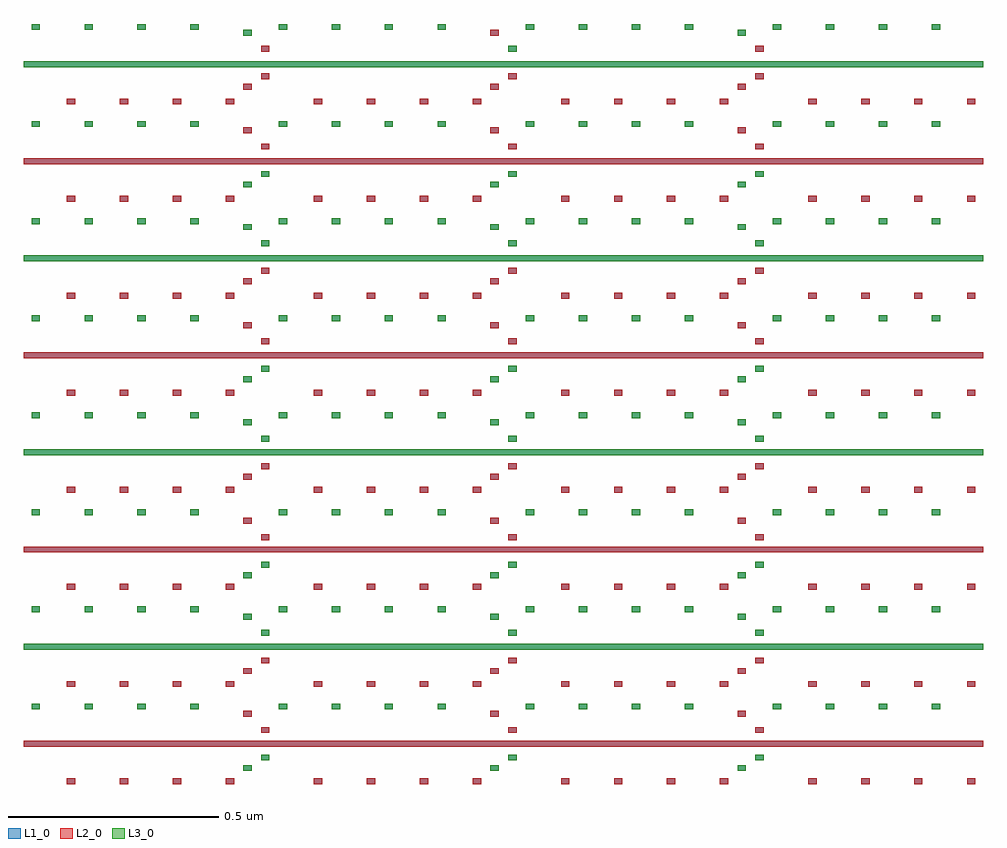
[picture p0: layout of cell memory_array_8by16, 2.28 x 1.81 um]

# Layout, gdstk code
import gdstk
lib = gdstk.Library(unit=1e-6, precision=5e-10)
def R(c, l, rs):  # rectangles x0, y0, x1, y1
    for r in rs: c.add(gdstk.rectangle(r[:2], r[2:], *l))
def A(c, l, x, y, w, h, nx, ny, dx, dy):  # array of equal rectangles
    R(c, l, [(x+i*dx, y+j*dy, x+i*dx+w, y+j*dy+h) for i in range(nx) for j in range(ny)])
L1_0 = (1, 0)
L2_0 = (2, 0)
L3_0 = (3, 0)

sram_6t = lib.new_cell('sram_6t')
R(sram_6t, L1_0, [(0.1025,0.0355,0.1225,0.0495), (0,0.1245,0.141,0.1385), (0.0185,0.213,0.0385,0.227)])
R(sram_6t, L2_0, [(0.1025,0.0355,0.1225,0.0495)])
R(sram_6t, L3_0, [(0.0185,0.213,0.0385,0.227)])

memory_array_8by16 = lib.new_cell('memory_array_8by16')
A(memory_array_8by16, L1_0, 0.5505, 0.071, 0.02, 0.014, 3, 2, 0.588, 0.129)
A(memory_array_8by16, L1_0, 0.5925, 0.096, 0.02, 0.014, 3, 2, 0.588, 0.0655)
A(memory_array_8by16, L1_0, 1.135, 0.129, 0.069, 0.014, 1, 8, 0, 0.231)
A(memory_array_8by16, L1_0, 1.723, 0.129, 0.069, 0.014, 1, 8, 0, 0.231)
A(memory_array_8by16, L1_0, 0.5505, 0.302, 0.02, 0.014, 3, 2, 0.588, 0.129)
A(memory_array_8by16, L1_0, 0.5925, 0.327, 0.02, 0.014, 3, 2, 0.588, 0.0655)
A(memory_array_8by16, L1_0, 0.5505, 0.53, 0.02, 0.014, 3, 2, 0.588, 0.129)
A(memory_array_8by16, L1_0, 0.5925, 0.555, 0.02, 0.014, 3, 2, 0.588, 0.0655)
A(memory_array_8by16, L1_0, 0.5505, 0.7645, 0.02, 0.014, 3, 2, 0.588, 0.129)
A(memory_array_8by16, L1_0, 0.5925, 0.7895, 0.02, 0.014, 3, 2, 0.588, 0.0655)
A(memory_array_8by16, L1_0, 0.5465, 0.822, 0.0705, 0.014, 1, 3, 0, 0.462)
A(memory_array_8by16, L1_0, 0.5505, 0.996, 0.02, 0.014, 3, 2, 0.588, 0.129)
A(memory_array_8by16, L1_0, 0.5925, 1.021, 0.02, 0.014, 3, 2, 0.588, 0.0655)
A(memory_array_8by16, L1_0, 0.5505, 1.2295, 0.02, 0.014, 3, 2, 0.588, 0.129)
A(memory_array_8by16, L1_0, 0.5925, 1.2545, 0.02, 0.014, 3, 2, 0.588, 0.0655)
A(memory_array_8by16, L1_0, 0.5505, 1.4595, 0.02, 0.014, 3, 2, 0.588, 0.129)
A(memory_array_8by16, L1_0, 0.5925, 1.4845, 0.02, 0.014, 3, 2, 0.588, 0.0655)
A(memory_array_8by16, L1_0, 0.5505, 1.692, 0.02, 0.014, 3, 2, 0.588, 0.129)
A(memory_array_8by16, L1_0, 0.5925, 1.717, 0.02, 0.014, 3, 2, 0.588, 0.0655)
R(memory_array_8by16, L1_0, [(0.5465,0.129,0.616,0.143), (2.2995,0.13,2.31,0.1415), (0.547,0.36,0.619,0.374), (2.299,0.3615,2.3095,0.373), (0.547,0.591,0.6355,0.605), (2.299,0.5915,2.31,0.604), (2.297,0.8235,2.309,0.8345), (0.547,1.053,0.617,1.067), (2.2985,1.055,2.3095,1.0665), (2.299,1.285,2.309,1.297), (0.547,1.515,0.617,1.529), (2.298,1.5165,2.3085,1.527), (2.2995,1.7475,2.309,1.759)])
A(memory_array_8by16, L2_0, 0.028, 0.129, 2.283, 0.014, 1, 4, 0, 0.462)
A(memory_array_8by16, L2_0, 0.5925, 0.1615, 0.02, 0.014, 3, 2, 0.588, 0.1655)
A(memory_array_8by16, L2_0, 0.5505, 0.2, 0.02, 0.014, 3, 2, 0.588, 0.102)
A(memory_array_8by16, L2_0, 0.5925, 0.6205, 0.02, 0.014, 3, 2, 0.588, 0.169)
A(memory_array_8by16, L2_0, 0.5505, 0.659, 0.02, 0.014, 3, 2, 0.588, 0.1055)
A(memory_array_8by16, L2_0, 0.5925, 1.0865, 0.02, 0.014, 3, 2, 0.588, 0.168)
A(memory_array_8by16, L2_0, 0.5505, 1.125, 0.02, 0.014, 3, 2, 0.588, 0.1045)
A(memory_array_8by16, L2_0, 0.5925, 1.55, 0.02, 0.014, 3, 2, 0.588, 0.167)
A(memory_array_8by16, L2_0, 0.5505, 1.5885, 0.02, 0.014, 3, 2, 0.588, 0.1035)
R(memory_array_8by16, L2_0, [(0.5925,1.7825,0.6125,1.7965), (1.7685,1.7825,1.7885,1.7965), (1.1385,1.821,1.1585,1.835)])
A(memory_array_8by16, L3_0, 0.5505, 0.071, 0.02, 0.014, 3, 2, 0.588, 0.36)
A(memory_array_8by16, L3_0, 0.5925, 0.096, 0.02, 0.014, 3, 2, 0.588, 0.2965)
A(memory_array_8by16, L3_0, 0.028, 0.36, 2.283, 0.014, 1, 4, 0, 0.462)
A(memory_array_8by16, L3_0, 0.5505, 0.53, 0.02, 0.014, 3, 2, 0.588, 0.3635)
A(memory_array_8by16, L3_0, 0.5925, 0.555, 0.02, 0.014, 3, 2, 0.588, 0.3)
A(memory_array_8by16, L3_0, 0.5505, 0.996, 0.02, 0.014, 3, 2, 0.588, 0.3625)
A(memory_array_8by16, L3_0, 0.5925, 1.021, 0.02, 0.014, 3, 2, 0.588, 0.299)
A(memory_array_8by16, L3_0, 0.5505, 1.4595, 0.02, 0.014, 3, 1, 0.588, 0)
A(memory_array_8by16, L3_0, 0.5925, 1.4845, 0.02, 0.014, 3, 1, 0.588, 0)
R(memory_array_8by16, L3_0, [(1.1805,1.7825,1.2005,1.7965), (0.5505,1.821,0.5705,1.835), (1.7265,1.821,1.7465,1.835)])
memory_array_8by16.add(gdstk.Reference(sram_6t, (0.868,0.2355)))
memory_array_8by16.add(gdstk.Reference(sram_6t, (0.994,0.2355)))
memory_array_8by16.add(gdstk.Reference(sram_6t, (0.742,0.2355)))
memory_array_8by16.add(gdstk.Reference(sram_6t, (0.616,0.2355)))
memory_array_8by16.add(gdstk.Reference(sram_6t, (1.792,0.2355)))
memory_array_8by16.add(gdstk.Reference(sram_6t, (1.918,0.2355)))
memory_array_8by16.add(gdstk.Reference(sram_6t, (2.17,0.2355)))
memory_array_8by16.add(gdstk.Reference(sram_6t, (2.044,0.2355)))
memory_array_8by16.add(gdstk.Reference(sram_6t, (0.406,0.6975)))
memory_array_8by16.add(gdstk.Reference(sram_6t, (0.28,0.6975)))
memory_array_8by16.add(gdstk.Reference(sram_6t, (1.456,0.2355)))
memory_array_8by16.add(gdstk.Reference(sram_6t, (1.582,0.2355)))
memory_array_8by16.add(gdstk.Reference(sram_6t, (1.33,0.2355)))
memory_array_8by16.add(gdstk.Reference(sram_6t, (1.204,0.2355)))
memory_array_8by16.add(gdstk.Reference(sram_6t, (1.204,0.0045)))
memory_array_8by16.add(gdstk.Reference(sram_6t, (1.33,0.0045)))
memory_array_8by16.add(gdstk.Reference(sram_6t, (1.582,0.0045)))
memory_array_8by16.add(gdstk.Reference(sram_6t, (1.456,0.0045)))
memory_array_8by16.add(gdstk.Reference(sram_6t, (0.154,0.6975)))
memory_array_8by16.add(gdstk.Reference(sram_6t, (0.028,0.6975)))
memory_array_8by16.add(gdstk.Reference(sram_6t, (2.044,0.0045)))
memory_array_8by16.add(gdstk.Reference(sram_6t, (2.17,0.0045)))
memory_array_8by16.add(gdstk.Reference(sram_6t, (1.918,0.0045)))
memory_array_8by16.add(gdstk.Reference(sram_6t, (1.792,0.0045)))
memory_array_8by16.add(gdstk.Reference(sram_6t, (0.616,0.0045)))
memory_array_8by16.add(gdstk.Reference(sram_6t, (0.742,0.0045)))
memory_array_8by16.add(gdstk.Reference(sram_6t, (0.994,0.0045)))
memory_array_8by16.add(gdstk.Reference(sram_6t, (0.868,0.0045)))
memory_array_8by16.add(gdstk.Reference(sram_6t, (0.28,0.0045)))
memory_array_8by16.add(gdstk.Reference(sram_6t, (0.406,0.0045)))
memory_array_8by16.add(gdstk.Reference(sram_6t, (0.154,0.0045)))
memory_array_8by16.add(gdstk.Reference(sram_6t, (0.028,0.0045)))
memory_array_8by16.add(gdstk.Reference(sram_6t, (0.028,0.4665)))
memory_array_8by16.add(gdstk.Reference(sram_6t, (0.154,0.4665)))
memory_array_8by16.add(gdstk.Reference(sram_6t, (0.406,0.4665)))
memory_array_8by16.add(gdstk.Reference(sram_6t, (0.28,0.4665)))
memory_array_8by16.add(gdstk.Reference(sram_6t, (0.868,0.4665)))
memory_array_8by16.add(gdstk.Reference(sram_6t, (0.994,0.4665)))
memory_array_8by16.add(gdstk.Reference(sram_6t, (0.742,0.4665)))
memory_array_8by16.add(gdstk.Reference(sram_6t, (0.616,0.4665)))
memory_array_8by16.add(gdstk.Reference(sram_6t, (1.792,0.4665)))
memory_array_8by16.add(gdstk.Reference(sram_6t, (1.918,0.4665)))
memory_array_8by16.add(gdstk.Reference(sram_6t, (2.17,0.4665)))
memory_array_8by16.add(gdstk.Reference(sram_6t, (2.044,0.4665)))
memory_array_8by16.add(gdstk.Reference(sram_6t, (1.456,0.4665)))
memory_array_8by16.add(gdstk.Reference(sram_6t, (1.582,0.4665)))
memory_array_8by16.add(gdstk.Reference(sram_6t, (1.33,0.4665)))
memory_array_8by16.add(gdstk.Reference(sram_6t, (1.204,0.4665)))
memory_array_8by16.add(gdstk.Reference(sram_6t, (1.204,0.6975)))
memory_array_8by16.add(gdstk.Reference(sram_6t, (1.33,0.6975)))
memory_array_8by16.add(gdstk.Reference(sram_6t, (1.582,0.6975)))
memory_array_8by16.add(gdstk.Reference(sram_6t, (1.456,0.6975)))
memory_array_8by16.add(gdstk.Reference(sram_6t, (2.044,0.6975)))
memory_array_8by16.add(gdstk.Reference(sram_6t, (2.17,0.6975)))
memory_array_8by16.add(gdstk.Reference(sram_6t, (1.918,0.6975)))
memory_array_8by16.add(gdstk.Reference(sram_6t, (1.792,0.6975)))
memory_array_8by16.add(gdstk.Reference(sram_6t, (0.616,0.6975)))
memory_array_8by16.add(gdstk.Reference(sram_6t, (0.742,0.6975)))
memory_array_8by16.add(gdstk.Reference(sram_6t, (0.994,0.6975)))
memory_array_8by16.add(gdstk.Reference(sram_6t, (0.868,0.6975)))
memory_array_8by16.add(gdstk.Reference(sram_6t, (0.028,0.2355)))
memory_array_8by16.add(gdstk.Reference(sram_6t, (0.154,0.2355)))
memory_array_8by16.add(gdstk.Reference(sram_6t, (0.406,0.2355)))
memory_array_8by16.add(gdstk.Reference(sram_6t, (0.28,0.2355)))
memory_array_8by16.add(gdstk.Reference(sram_6t, (0.28,1.1595)))
memory_array_8by16.add(gdstk.Reference(sram_6t, (0.406,1.1595)))
memory_array_8by16.add(gdstk.Reference(sram_6t, (0.154,1.1595)))
memory_array_8by16.add(gdstk.Reference(sram_6t, (0.028,1.1595)))
memory_array_8by16.add(gdstk.Reference(sram_6t, (0.868,1.6215)))
memory_array_8by16.add(gdstk.Reference(sram_6t, (0.994,1.6215)))
memory_array_8by16.add(gdstk.Reference(sram_6t, (0.742,1.6215)))
memory_array_8by16.add(gdstk.Reference(sram_6t, (0.616,1.6215)))
memory_array_8by16.add(gdstk.Reference(sram_6t, (1.792,1.6215)))
memory_array_8by16.add(gdstk.Reference(sram_6t, (1.918,1.6215)))
memory_array_8by16.add(gdstk.Reference(sram_6t, (2.17,1.6215)))
memory_array_8by16.add(gdstk.Reference(sram_6t, (2.044,1.6215)))
memory_array_8by16.add(gdstk.Reference(sram_6t, (1.456,1.6215)))
memory_array_8by16.add(gdstk.Reference(sram_6t, (1.582,1.6215)))
memory_array_8by16.add(gdstk.Reference(sram_6t, (1.33,1.6215)))
memory_array_8by16.add(gdstk.Reference(sram_6t, (1.204,1.6215)))
memory_array_8by16.add(gdstk.Reference(sram_6t, (1.204,1.3905)))
memory_array_8by16.add(gdstk.Reference(sram_6t, (1.33,1.3905)))
memory_array_8by16.add(gdstk.Reference(sram_6t, (1.582,1.3905)))
memory_array_8by16.add(gdstk.Reference(sram_6t, (1.456,1.3905)))
memory_array_8by16.add(gdstk.Reference(sram_6t, (2.044,1.3905)))
memory_array_8by16.add(gdstk.Reference(sram_6t, (2.17,1.3905)))
memory_array_8by16.add(gdstk.Reference(sram_6t, (1.918,1.3905)))
memory_array_8by16.add(gdstk.Reference(sram_6t, (1.792,1.3905)))
memory_array_8by16.add(gdstk.Reference(sram_6t, (0.616,1.3905)))
memory_array_8by16.add(gdstk.Reference(sram_6t, (0.742,1.3905)))
memory_array_8by16.add(gdstk.Reference(sram_6t, (0.994,1.3905)))
memory_array_8by16.add(gdstk.Reference(sram_6t, (0.868,1.3905)))
memory_array_8by16.add(gdstk.Reference(sram_6t, (0.28,1.3905)))
memory_array_8by16.add(gdstk.Reference(sram_6t, (0.406,1.3905)))
memory_array_8by16.add(gdstk.Reference(sram_6t, (0.154,1.3905)))
memory_array_8by16.add(gdstk.Reference(sram_6t, (0.028,1.3905)))
memory_array_8by16.add(gdstk.Reference(sram_6t, (0.028,0.9285)))
memory_array_8by16.add(gdstk.Reference(sram_6t, (0.154,0.9285)))
memory_array_8by16.add(gdstk.Reference(sram_6t, (0.406,0.9285)))
memory_array_8by16.add(gdstk.Reference(sram_6t, (0.28,0.9285)))
memory_array_8by16.add(gdstk.Reference(sram_6t, (0.868,0.9285)))
memory_array_8by16.add(gdstk.Reference(sram_6t, (0.994,0.9285)))
memory_array_8by16.add(gdstk.Reference(sram_6t, (0.742,0.9285)))
memory_array_8by16.add(gdstk.Reference(sram_6t, (0.616,0.9285)))
memory_array_8by16.add(gdstk.Reference(sram_6t, (1.792,0.9285)))
memory_array_8by16.add(gdstk.Reference(sram_6t, (1.918,0.9285)))
memory_array_8by16.add(gdstk.Reference(sram_6t, (2.17,0.9285)))
memory_array_8by16.add(gdstk.Reference(sram_6t, (2.044,0.9285)))
memory_array_8by16.add(gdstk.Reference(sram_6t, (0.028,1.6215)))
memory_array_8by16.add(gdstk.Reference(sram_6t, (0.154,1.6215)))
memory_array_8by16.add(gdstk.Reference(sram_6t, (1.456,0.9285)))
memory_array_8by16.add(gdstk.Reference(sram_6t, (1.582,0.9285)))
memory_array_8by16.add(gdstk.Reference(sram_6t, (1.33,0.9285)))
memory_array_8by16.add(gdstk.Reference(sram_6t, (1.204,0.9285)))
memory_array_8by16.add(gdstk.Reference(sram_6t, (1.204,1.1595)))
memory_array_8by16.add(gdstk.Reference(sram_6t, (1.33,1.1595)))
memory_array_8by16.add(gdstk.Reference(sram_6t, (1.582,1.1595)))
memory_array_8by16.add(gdstk.Reference(sram_6t, (1.456,1.1595)))
memory_array_8by16.add(gdstk.Reference(sram_6t, (0.28,1.6215)))
memory_array_8by16.add(gdstk.Reference(sram_6t, (0.406,1.6215)))
memory_array_8by16.add(gdstk.Reference(sram_6t, (2.044,1.1595)))
memory_array_8by16.add(gdstk.Reference(sram_6t, (2.17,1.1595)))
memory_array_8by16.add(gdstk.Reference(sram_6t, (1.918,1.1595)))
memory_array_8by16.add(gdstk.Reference(sram_6t, (1.792,1.1595)))
memory_array_8by16.add(gdstk.Reference(sram_6t, (0.616,1.1595)))
memory_array_8by16.add(gdstk.Reference(sram_6t, (0.742,1.1595)))
memory_array_8by16.add(gdstk.Reference(sram_6t, (0.994,1.1595)))
memory_array_8by16.add(gdstk.Reference(sram_6t, (0.868,1.1595)))

lib.write_gds('memory_array_8by16.gds')
